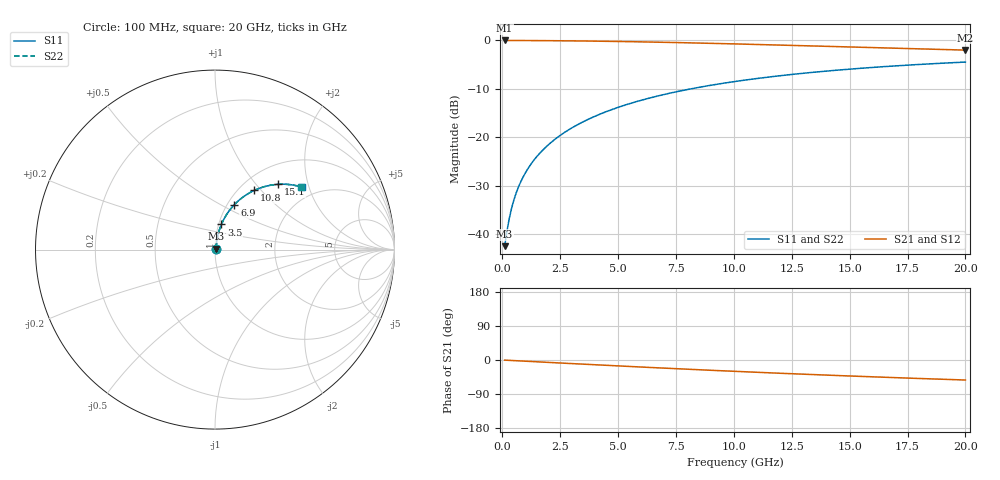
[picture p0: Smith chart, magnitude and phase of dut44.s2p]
! Touchstone file exported from HFSS 2026.1.0
!  File:  C:/ffzhzh/LocalFiles/Ansys_Project_Files/temp_train_BSMRDL_44_1782882434_42304.aedt
!  Generated:  01:08:27 PM Jul  1, 2026
!  Design:  BSMRDL
!  Project:  temp_train_BSMRDL_44_1782882434_42304
! Variables:
!  h_bsmrdl = 3.06um
!  h_ox = 20um
!  h_rdl = 5um
!  h_sub = 80um
!  h_tmrdl = 5um
!  h_tsv = 80um
!  h_via = 3um
!  l_bsmrdl = 692.54um
!  l_sub = 1092.54um
!  l_tmrdl = 200um
!  m_sub = 200um
!  pitch = 59.97um
!  r_tsv = 6um
!  s_tmrdl = 10um
!  w_bsmrdl = 13.22um
!  w_sub = 500um
!  w_tmrdl = 12um
!  x_tsv_center1 = 206um
!  x_tsv_center2 = 911.76um
!  x_tsv_center3 = 1123.76um
!  x_tsv_center4 = 1829.52um
!  x_tsv_center5 = 2041.52um
!  x_tsv_center6 = 2747.28um
# GHz S MA R 50.000000
! Terminal data exported
! Port[1] = BSM_RDL1_1_T1
! Port[2] = BSM_RDL1_1_T2
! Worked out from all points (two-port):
!   200 points, 100 MHz to 20 GHz, reference 50 ohm
!   highest |S21| = -0.05 dB at 100 MHz (marker M1); lowest = -2.0 dB at 20 GHz (marker M2)
!   |S21| within 3 dB of the highest: start of sweep to end of sweep
!   lowest |S11| = -42.5 dB at 100 MHz (marker M3), VSWR 1.02, Z = 50.6 + j0.437 ohm
!   |S11| at or under -10 dB: start of sweep to 8.188 GHz
!   |S22| runs from -42.5 to -4.5 dB; largest |S21 - S12| = 4.5e-15
!   S11 on the Smith chart (normalised r, x): 100 MHz: 1.01, +0.01; 3.5 GHz: 1.03, +0.29; 6.9 GHz: 1.08, +0.58; 10.8 GHz: 1.17, +0.92; 15.1 GHz: 1.34, +1.31; 20 GHz: 1.66, +1.79
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0.1  0.007489 35.2  0.9939 -0.3  0.9939 -0.3  0.007489 35.2
! Gamma 0 0 0 0
! Port Impedance 50 0 50 0
0.2  0.01065 54.0  0.9938 -0.7  0.9938 -0.7  0.01065 54.0
0.3  0.01442 63.3  0.9936 -1.0  0.9936 -1.0  0.01442 63.3
0.4  0.01839 68.4  0.9935 -1.3  0.9935 -1.3  0.01839 68.4
0.5  0.02243 71.5  0.9933 -1.6  0.9933 -1.6  0.02243 71.5
0.6  0.02651 73.6  0.9931 -1.9  0.9931 -1.9  0.02651 73.6
0.8  0.03468 76.1  0.9926 -2.6  0.9926 -2.6  0.03468 76.1
1.1  0.04695 77.9  0.9919 -3.5  0.9919 -3.5  0.04695 77.9
1.5  0.06333 78.6  0.9908 -4.8  0.9908 -4.8  0.06333 78.7
2.1  0.08785 78.4  0.9887 -6.7  0.9887 -6.7  0.08785 78.4
2.7  0.1122 77.5  0.986 -8.5  0.986 -8.5  0.1122 77.5
3.5  0.1443 75.8  0.9815 -11.0  0.9815 -11.0  0.1443 75.8
5  0.2026 71.9  0.9705 -15.6  0.9705 -15.6  0.2026 71.9
6.8  0.2687 67.0  0.9535 -20.9  0.9535 -20.9  0.2687 67.0
6.9  0.2722 66.7  0.9524 -21.2  0.9524 -21.2  0.2722 66.7
8.4  0.3232 62.6  0.9357 -25.5  0.9357 -25.5  0.3232 62.6
10.1  0.3764 58.1  0.915 -30.1  0.915 -30.1  0.3764 58.2
10.8  0.3969 56.3  0.9061 -31.9  0.9061 -31.9  0.3969 56.4
13.4  0.4657 50.0  0.8722 -38.4  0.8722 -38.4  0.4657 50.0
15.1  0.5049 46.1  0.85 -42.4  0.85 -42.4  0.5049 46.1
16.7  0.5378 42.6  0.8297 -46.0  0.8297 -46.0  0.5378 42.6
20  0.5948 35.9  0.7903 -52.8  0.7903 -52.8  0.5948 35.9
